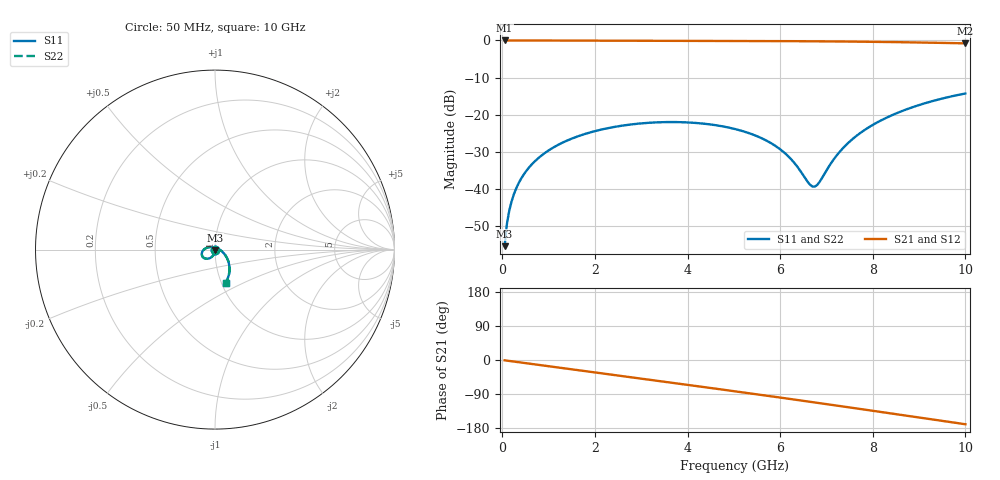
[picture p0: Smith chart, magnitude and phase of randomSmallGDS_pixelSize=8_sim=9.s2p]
! freq	dB(S11)	phase(S11)	dB(S12)	phase(S12)
!  dB(S21)	phase(S21)	dB(S22)	phase(S22)
!S-par simulation data
#  GHz  S  DB  R 50
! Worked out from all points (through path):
!   200 points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, 50 MHz to 10 GHz, reference 50 ohm
!   highest |S21| = 0.00 dB at 50 MHz (marker M1); lowest = -0.8 dB at 10 GHz (marker M2)
!   group delay of S21, straight-line fit = 47 ps
!   lowest |S11| = -55.4 dB at 50 MHz (marker M3), VSWR 1.00, Z = 50 - j0.17 ohm
!   |S11| at or under -10 dB: start of sweep to end of sweep
!   |S22| runs from -55.4 to -14.3 dB; largest |S21 - S12| = 0
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0.05  -55.40 -90.3  -0.00 -0.8  -0.00 -0.8  -55.40 -90.3
0.1  -49.38 -91.5  -0.00 -1.7  -0.00 -1.7  -49.38 -91.5
0.2  -43.37 -93.5  -0.01 -3.3  -0.01 -3.3  -43.37 -93.5
0.35  -38.52 -96.3  -0.01 -5.8  -0.01 -5.8  -38.52 -96.3
0.5  -35.44 -99.0  -0.01 -8.2  -0.01 -8.2  -35.44 -99.0
1  -29.62 -107.5  -0.02 -16.4  -0.02 -16.4  -29.62 -107.5
1.75  -25.32 -120.2  -0.04 -28.7  -0.04 -28.7  -25.32 -120.2
2.5  -23.12 -132.8  -0.06 -40.9  -0.06 -40.9  -23.12 -132.8
3.4  -22.03 -148.1  -0.09 -55.7  -0.09 -55.7  -22.03 -148.1
4.3  -22.35 -164.0  -0.12 -70.5  -0.12 -70.5  -22.35 -164.1
5.05  -23.93 -178.6  -0.14 -83.0  -0.14 -83.0  -23.93 -178.7
5.6  -26.33 168.8  -0.16 -92.3  -0.16 -92.3  -26.33 168.5
6  -29.31 156.5  -0.18 -99.1  -0.18 -99.1  -29.30 156.1
6.3  -32.89 141.3  -0.20 -104.3  -0.20 -104.3  -32.85 140.7
6.7  -39.35 79.2  -0.22 -111.2  -0.22 -111.2  -39.13 78.9
6.8  -38.91 51.4  -0.23 -112.9  -0.23 -112.9  -38.69 51.7
7.2  -31.30 -3.1  -0.27 -119.9  -0.27 -119.9  -31.25 -2.5
7.5  -27.24 -17.2  -0.30 -125.2  -0.30 -125.2  -27.22 -16.8
7.9  -23.50 -29.2  -0.35 -132.2  -0.35 -132.2  -23.49 -28.9
8.35  -20.49 -39.9  -0.42 -140.2  -0.42 -140.2  -20.49 -39.6
9.1  -17.01 -55.2  -0.57 -153.5  -0.57 -153.5  -17.00 -55.0
10  -14.29 -72.0  -0.78 -169.5  -0.78 -169.5  -14.28 -71.8
